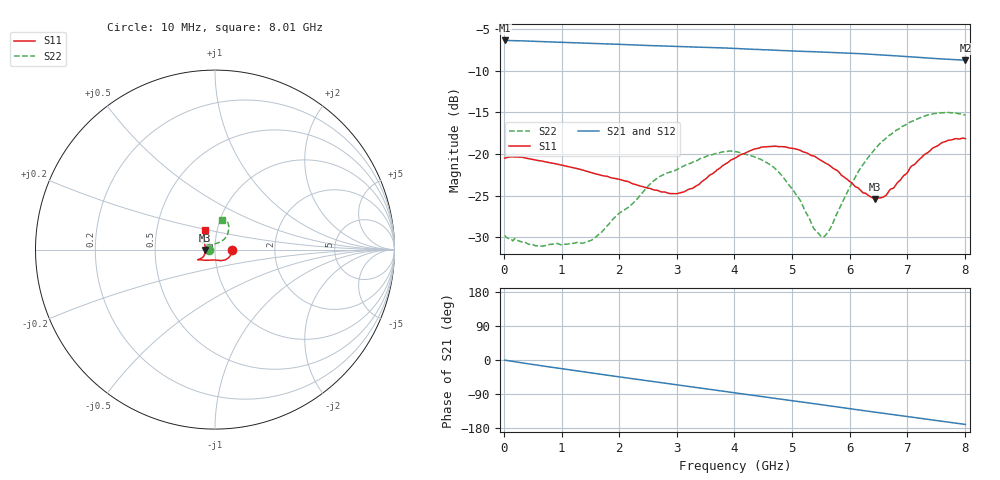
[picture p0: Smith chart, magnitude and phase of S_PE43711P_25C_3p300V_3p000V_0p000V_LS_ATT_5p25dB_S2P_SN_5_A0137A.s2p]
! Device ID: PE43711P
! File Path: z:\PE43711P\CHAR_NOM_04282014\AMB\3p300\LS_ATT_5p25dB\PE43711P_AMB_3p300V_3p000V_0p000V_LS_ATT_5p25dB_S2P_SN_5_A0137A.s2p
! Serial: 5
! Lot: A0137A
! Temp: 25C
! VDD: 3.300
! VSS: 0.000
! Control_Hi: 3.000
! Control_Lo: 0.000
! Attenuation Step: 5.25dB
! Port 1: RF1
! Port 2: RF2
! ThroughPath:1-2
! IDD: 0.0001280229
! ISS: -1.993e-007
#  Hz  S  RI  R  50
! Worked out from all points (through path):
!   801 points, 10 MHz to 8.01 GHz, reference 50 ohm
!   highest |S21| = -6.35 dB at 10 MHz (marker M1); lowest = -8.7 dB at 8.01 GHz (marker M2)
!   group delay of S21, straight-line fit = 58.6 ps
!   lowest |S11| = -25.4 dB at 6.44 GHz (marker M3), VSWR 1.11, Z = 44.9 - j0.134 ohm
!   |S11| at or under -10 dB: start of sweep to end of sweep
!   |S22| runs from -31.1 to -15.0 dB; largest |S21 - S12| = 0.00072
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1e7  0.0945 -0.000368  0.4817 -0.00256  0.4819 -0.00264  -0.0324 0.00032
5.7e8  0.0853 -0.0333  0.4624 -0.1102  0.4626 -0.1103  -0.0278 -0.00375
1.35e9  0.0565 -0.0571  0.4008 -0.2363  0.4012 -0.2364  -0.0287 0.00463
1.67e9  0.0448 -0.0599  0.366 -0.2801  0.3664 -0.2803  -0.0288 0.0168
2.68e9  0.0129 -0.0588  0.232 -0.3823  0.2322 -0.3826  -0.0389 0.0612
2.98e9  -0.00296 -0.0577  0.1873 -0.4025  0.1874 -0.4029  -0.047 0.0646
3.26e9  -0.0205 -0.0584  0.1436 -0.4163  0.1438 -0.4166  -0.056 0.0688
3.68e9  -0.0527 -0.0594  0.0773 -0.4286  0.0772 -0.4289  -0.0746 0.0676
4.01e9  -0.0751 -0.0573  0.0242 -0.4305  0.024 -0.4308  -0.0857 0.058
4.44e9  -0.0938 -0.0556  -0.0427 -0.4227  -0.0428 -0.4228  -0.0816 0.0457
4.74e9  -0.0959 -0.0561  -0.0875 -0.4107  -0.0876 -0.4111  -0.07 0.0377
5.12e9  -0.0906 -0.0549  -0.1407 -0.3905  -0.1408 -0.3906  -0.0438 0.0318
5.35e9  -0.0835 -0.0508  -0.1715 -0.3749  -0.1716 -0.3753  -0.0228 0.0295
5.51e9  -0.0774 -0.0485  -0.1923 -0.3625  -0.1923 -0.3627  -0.00701 0.0311
5.6e9  -0.0743 -0.0465  -0.2037 -0.3551  -0.2034 -0.3553  0.00232 0.0331
6.13e9  -0.0579 -0.0247  -0.2644 -0.3029  -0.2647 -0.3028  0.0504 0.057
6.44e9  -0.0537 -0.00149  -0.2934 -0.2664  -0.2937 -0.2665  0.0689 0.0821
6.68e9  -0.0559 0.0213  -0.3121 -0.2369  -0.3121 -0.2371  0.0748 0.105
7.05e9  -0.0605 0.0563  -0.3347 -0.1886  -0.3344 -0.1888  0.0752 0.136
7.45e9  -0.0634 0.0885  -0.3504 -0.1361  -0.3506 -0.1361  0.0626 0.1628
7.7e9  -0.0633 0.1025  -0.3566 -0.1033  -0.3566 -0.1031  0.05 0.1709
8.01e9  -0.056 0.1103  -0.3609 -0.0632  -0.3611 -0.0625  0.0377 0.167
